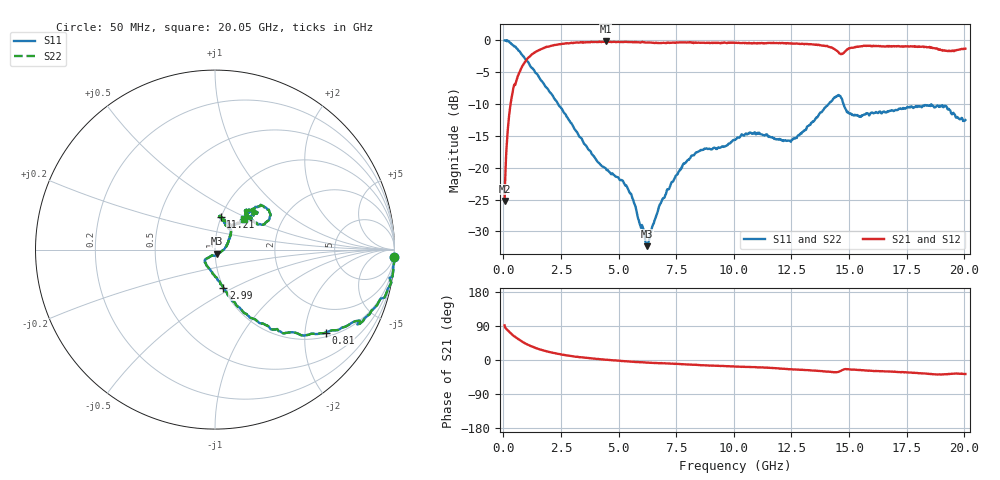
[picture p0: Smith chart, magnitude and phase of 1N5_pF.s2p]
! 500R07S1R5BV4
! Data taken April 11, 2003
! Data taken on a HP 8720C VNA using a series-through test fixture and TRL* de-embedding
#	mhz	s	ma	r	50
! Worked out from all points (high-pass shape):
!   1001 points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, 50 MHz to 20.05 GHz, reference 50 ohm
!   highest |S21| = -0.14 dB at 4.43 GHz (marker M1); lowest = -25.2 dB at 50 MHz (marker M2)
!   |S21| within 3 dB of the highest: 976.8 MHz to end of sweep
!   lowest |S11| = -32.3 dB at 6.23 GHz (marker M3), VSWR 1.05, Z = 51 - j2.24 ohm
!   |S11| at or under -10 dB: 2.374 GHz to 14.11 GHz (11.74 GHz wide, 142 % of centre); 14.76 GHz to end of sweep
!   |S22| runs from -32.3 to 0.0 dB; largest |S21 - S12| = 0
!   S11 on the Smith chart (normalised r, x): 50 MHz: 0, -52; 810 MHz: 1.13, -2.56; 2.99 GHz: 1.00, -0.44; 11.21 GHz: 1.00, +0.37; 20.05 GHz: 1.30, +0.47
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50  1 -2.2  0.0548 91.4  0.0548 91.4  1 -2.2
210  0.9863 -13.0  0.2215 76.9  0.2215 76.9  0.9863 -13.0
330  0.945 -20.3  0.3353 69.6  0.3353 69.6  0.945 -20.3
810  0.7706 -36.8  0.624 48.4  0.624 48.4  0.7706 -36.8
1770  0.4497 -60.0  0.8763 24.6  0.8763 24.6  0.4497 -60.0
2990  0.217 -77.8  0.9538 9.9  0.9538 9.9  0.217 -77.8
3390  0.1699 -84.7  0.9681 7.0  0.9681 7.0  0.1699 -84.7
4430  0.09931 -118.9  0.9837 0.7  0.9837 0.7  0.09931 -118.9
5450  0.06523 -131.9  0.9703 -3.9  0.9703 -3.9  0.06523 -131.9
6230  0.02423 -65.2  0.9636 -7.0  0.9636 -7.0  0.02423 -65.2
6730  0.04826 -1.1  0.953 -8.4  0.953 -8.4  0.04826 -1.1
8110  0.1194 43.4  0.9657 -12.1  0.9657 -12.1  0.1194 43.4
10050  0.1656 74.1  0.9578 -17.0  0.9578 -17.0  0.1656 74.1
11210  0.183 80.0  0.9547 -19.7  0.9547 -19.7  0.183 80.0
12450  0.1624 56.0  0.9507 -24.4  0.9507 -24.4  0.1624 56.0
13390  0.227 47.9  0.9315 -27.6  0.9315 -27.6  0.227 47.9
14530  0.368 37.2  0.8105 -31.5  0.8105 -31.5  0.368 37.2
14790  0.3049 27.3  0.8067 -24.5  0.8067 -24.5  0.3049 27.3
15130  0.2596 37.8  0.8784 -25.1  0.8784 -25.1  0.2596 37.8
16730  0.2773 52.1  0.9056 -30.3  0.9056 -30.3  0.2773 52.1
19110  0.3009 44.2  0.8329 -37.6  0.8329 -37.6  0.3009 44.2
20050  0.237 46.2  0.862 -36.9  0.862 -36.9  0.237 46.2
